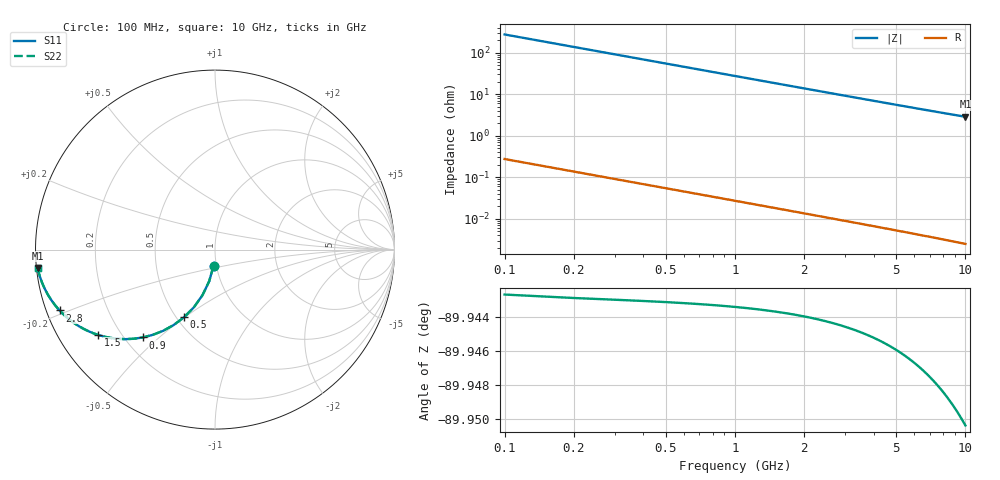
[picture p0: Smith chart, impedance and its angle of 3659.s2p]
# Hz S RI R 50.00
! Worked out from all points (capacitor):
!   100 points, 100 MHz to 10 GHz, reference 50 ohm
!   read as one part in shunt: C = 5.79 pF near 100 MHz
!   lowest |Z| = 2.87 ohm at 10 GHz (marker M1)
!   S11 on the Smith chart (normalised r, x): 100 MHz: 0.97, -0.18; 500 MHz: 0.55, -0.50; 900 MHz: 0.27, -0.44; 1.5 GHz: 0.12, -0.32; 2.8 GHz: 0.04, -0.19; 10 GHz: 0.00, -0.05
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1e8  -0.00829 -0.0902  0.9917 -0.0903  0.9917 -0.0903  -0.00829 -0.0902
2e8  -0.0322 -0.176  0.9678 -0.1762  0.9678 -0.1762  -0.0322 -0.176
3e8  -0.0696 -0.2538  0.9304 -0.2541  0.9304 -0.2541  -0.0696 -0.2538
4e8  -0.1172 -0.321  0.8828 -0.3214  0.8828 -0.3214  -0.1172 -0.321
5e8  -0.1717 -0.3764  0.8283 -0.3769  0.8283 -0.3769  -0.1717 -0.3764
6e8  -0.2298 -0.4199  0.7702 -0.4205  0.7702 -0.4205  -0.2298 -0.4199
7e8  -0.2887 -0.4523  0.7113 -0.453  0.7113 -0.453  -0.2887 -0.4523
8e8  -0.3463 -0.4749  0.6536 -0.4757  0.6536 -0.4757  -0.3463 -0.4749
9e8  -0.4013 -0.4892  0.5987 -0.4901  0.5987 -0.4901  -0.4013 -0.4892
1e9  -0.4527 -0.4967  0.5473 -0.4978  0.5473 -0.4978  -0.4527 -0.4967
1.2e9  -0.5434 -0.497  0.4565 -0.4982  0.4565 -0.4982  -0.5434 -0.497
1.5e9  -0.6501 -0.4757  0.3499 -0.4772  0.3499 -0.4772  -0.6501 -0.4757
1.8e9  -0.7277 -0.4437  0.2722 -0.4456  0.2722 -0.4456  -0.7277 -0.4437
2e9  -0.7673 -0.421  0.2327 -0.4231  0.2327 -0.4231  -0.7673 -0.421
2.3e9  -0.8133 -0.3879  0.1866 -0.3903  0.1866 -0.3903  -0.8133 -0.3879
2.8e9  -0.8657 -0.3389  0.1342 -0.3419  0.1342 -0.3419  -0.8657 -0.3389
3.4e9  -0.9047 -0.2913  0.0952 -0.2948  0.0952 -0.2948  -0.9047 -0.2913
4.2e9  -0.9354 -0.2432  0.0646 -0.2475  0.0646 -0.2475  -0.9354 -0.2432
5.1e9  -0.9552 -0.2036  0.0448 -0.209  0.0448 -0.209  -0.9552 -0.2036
6.7e9  -0.9735 -0.1563  0.0264 -0.1634  0.0264 -0.1634  -0.9735 -0.1563
8.4e9  -0.983 -0.124  0.0169 -0.1329  0.0169 -0.1329  -0.983 -0.124
1e10  -0.988 -0.1027  0.0119 -0.1134  0.0119 -0.1134  -0.988 -0.1027
